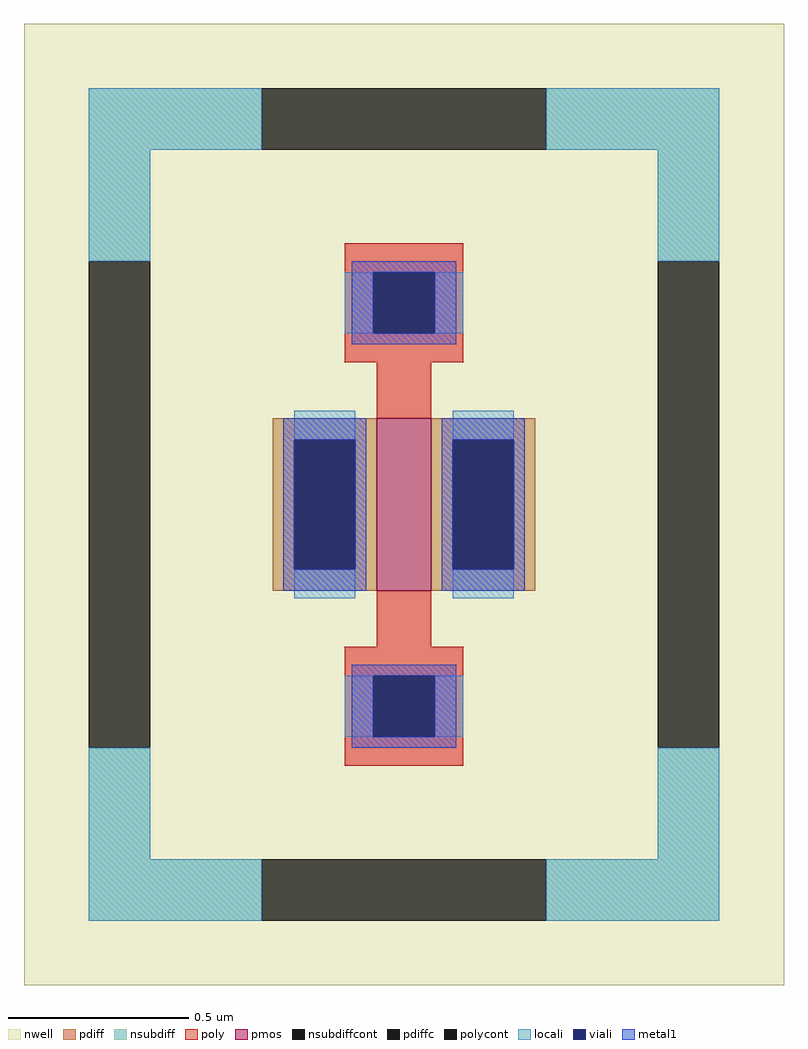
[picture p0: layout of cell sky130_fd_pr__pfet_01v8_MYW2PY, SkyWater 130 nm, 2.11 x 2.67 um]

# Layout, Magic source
magic
tech sky130A
magscale 1 2
<< nwell >>
rect -211 -267 211 267
<< pmos >>
rect -15 -48 15 48
<< pdiff >>
rect -73 36 -15 48
rect -73 -36 -61 36
rect -27 -36 -15 36
rect -73 -48 -15 -36
rect 15 36 73 48
rect 15 -36 27 36
rect 61 -36 73 36
rect 15 -48 73 -36
<< pdiffc >>
rect -61 -36 -27 36
rect 27 -36 61 36
<< nsubdiff >>
rect -175 197 -79 231
rect 79 197 175 231
rect -175 135 -141 197
rect 141 135 175 197
rect -175 -197 -141 -135
rect 141 -197 175 -135
rect -175 -231 -79 -197
rect 79 -231 175 -197
<< nsubdiffcont >>
rect -79 197 79 231
rect -175 -135 -141 135
rect 141 -135 175 135
rect -79 -231 79 -197
<< poly >>
rect -33 129 33 145
rect -33 95 -17 129
rect 17 95 33 129
rect -33 79 33 95
rect -15 48 15 79
rect -15 -79 15 -48
rect -33 -95 33 -79
rect -33 -129 -17 -95
rect 17 -129 33 -95
rect -33 -145 33 -129
<< polycont >>
rect -17 95 17 129
rect -17 -129 17 -95
<< locali >>
rect -175 197 -79 231
rect 79 197 175 231
rect -175 135 -141 197
rect 141 135 175 197
rect -33 95 -17 129
rect 17 95 33 129
rect -61 36 -27 52
rect -61 -52 -27 -36
rect 27 36 61 52
rect 27 -52 61 -36
rect -33 -129 -17 -95
rect 17 -129 33 -95
rect -175 -197 -141 -135
rect 141 -197 175 -135
rect -175 -231 -79 -197
rect 79 -231 175 -197
<< viali >>
rect -17 95 17 129
rect -61 -36 -27 36
rect 27 -36 61 36
rect -17 -129 17 -95
<< metal1 >>
rect -29 129 29 135
rect -29 95 -17 129
rect 17 95 29 129
rect -29 89 29 95
rect -67 36 -21 48
rect -67 -36 -61 36
rect -27 -36 -21 36
rect -67 -48 -21 -36
rect 21 36 67 48
rect 21 -36 27 36
rect 61 -36 67 36
rect 21 -48 67 -36
rect -29 -95 29 -89
rect -29 -129 -17 -95
rect 17 -129 29 -95
rect -29 -135 29 -129
<< properties >>
string FIXED_BBOX -158 -214 158 214
string gencell sky130_fd_pr__pfet_01v8
string library sky130
string parameters w 0.48 l 0.15 m 1 nf 1 diffcov 100 polycov 100 guard 1 glc 1 grc 1 gtc 1 gbc 1 tbcov 100 rlcov 100 topc 1 botc 1 poverlap 0 doverlap 1 lmin 0.15 wmin 0.42 compatible {sky130_fd_pr__pfet_01v8  sky130_fd_pr__pfet_01v8_lvt sky130_fd_pr__pfet_01v8_hvt  sky130_fd_pr__pfet_g5v0d10v5} full_metal 1 viasrc 100 viadrn 100 viagate 100 viagb 0 viagr 0 viagl 0 viagt 0
<< end >>
